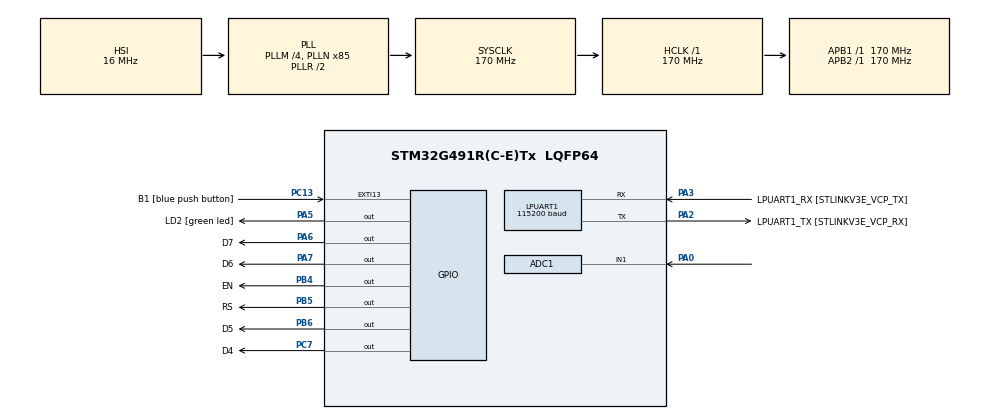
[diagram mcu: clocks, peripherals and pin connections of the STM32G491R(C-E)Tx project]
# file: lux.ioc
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ADC1.Channel-0\#ChannelRegularConversion=ADC_CHANNEL_1
ADC1.NbrOfConversionFlag=1
ADC1.OffsetNumber-0\#ChannelRegularConversion=ADC_OFFSET_NONE
ADC1.Rank-0\#ChannelRegularConversion=1
ADC1.SamplingTime-0\#ChannelRegularConversion=ADC_SAMPLETIME_2CYCLES_5
ADC1.master=1
LPUART1.BaudRate=115200
LPUART1.WordLength=UART_WORDLENGTH_8B
Mcu.Family=STM32G4
Mcu.Name=STM32G491R(C-E)Tx
Mcu.Package=LQFP64
NVIC.EXTI15_10_IRQn=true\:0\:0\:false\:false\:true\:true\:true\:true
NVIC.PriorityGroup=NVIC_PRIORITYGROUP_4
PA0.Mode=IN1-Single-Ended
PA0.Signal=ADC1_IN1
PA13.GPIO_Label=T_SWDIO
PA13.Mode=Serial_Wire
PA13.Signal=SYS_JTMS-SWDIO
PA14.GPIO_Label=T_SWCLK
PA14.Mode=Serial_Wire
PA14.Signal=SYS_JTCK-SWCLK
PA2.GPIO_Label=LPUART1_TX [STLINKV3E_VCP_RX]
PA2.Mode=Asynchronous
PA2.Signal=LPUART1_TX
PA3.GPIO_Label=LPUART1_RX [STLINKV3E_VCP_TX]
PA3.Mode=Asynchronous
PA3.Signal=LPUART1_RX
PA5.GPIO_Label=LD2 [green led]
PA5.Signal=GPIO_Output
PA6.GPIO_Label=D7
PA6.Signal=GPIO_Output
PA7.GPIO_Label=D6
PA7.Signal=GPIO_Output
PB3.GPIO_Label=T_SWO
PB3.Signal=SYS_JTDO-SWO
PB4.GPIO_Label=EN
PB4.Signal=GPIO_Output
PB5.GPIO_Label=RS
PB5.Signal=GPIO_Output
PB6.GPIO_Label=D5
PB6.Signal=GPIO_Output
PC13.GPIO_Label=B1 [blue push button]
PC13.Signal=GPXTI13
PC14-OSC32_IN.Mode=LSE-External-Oscillator
PC14-OSC32_IN.Signal=RCC_OSC32_IN
PC15-OSC32_OUT.Mode=LSE-External-Oscillator
PC15-OSC32_OUT.Signal=RCC_OSC32_OUT
PC7.GPIO_Label=D4
PC7.Signal=GPIO_Output
PF0-OSC_IN.Mode=HSE-External-Oscillator
PF0-OSC_IN.Signal=RCC_OSC_IN
PF1-OSC_OUT.Mode=HSE-External-Oscillator
PF1-OSC_OUT.Signal=RCC_OSC_OUT
ProjectManager.HeapSize=0x200
ProjectManager.StackSize=0x400
ProjectManager.TargetToolchain=STM32CubeIDE
RCC.ADC12Freq_Value=170000000
RCC.ADC345Freq_Value=170000000
RCC.AHBFreq_Value=170000000
RCC.APB1Freq_Value=170000000
RCC.APB1TimFreq_Value=170000000
RCC.APB2Freq_Value=170000000
RCC.APB2TimFreq_Value=170000000
RCC.CortexFreq_Value=170000000
RCC.EXTERNAL_CLOCK_VALUE=12288000
RCC.HCLKFreq_Value=170000000
RCC.HSE_VALUE=24000000
RCC.HSI48_VALUE=48000000
RCC.HSI_VALUE=16000000
RCC.PLLM=RCC_PLLM_DIV4
RCC.PLLN=85
RCC.RTCClockSelection=RCC_RTCCLKSOURCE_LSE
RCC.SYSCLKFreq_VALUE=170000000
RCC.SYSCLKSource=RCC_SYSCLKSOURCE_PLLCLK
RCC.USBFreq_Value=48000000
RCC.VCOOutputFreq_Value=340000000
VP_SYS_VS_DBSignals.Mode=DisableDeadBatterySignals
board=NUCLEO-G491RE

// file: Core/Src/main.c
/* USER CODE BEGIN Header */
/**
  ******************************************************************************
  * @file           : main.c
  * @brief          : Main program body
  ******************************************************************************
  * @attention
  *
  * Copyright (c) 2023 STMicroelectronics.
  * All rights reserved.
  *
  * This software is licensed under terms that can be found in the LICENSE file
  * in the root directory of this software component.
  * If no LICENSE file comes with this software, it is provided AS-IS.
  *
  ******************************************************************************
  */
/* USER CODE END Header */
#include "main.h"

/* USER CODE BEGIN Includes */
#include "lcd.h"
#include <math.h>
/* USER CODE END Includes */

/* USER CODE BEGIN PD */
#define LUX_SCALAR		48.842
#define LUX_EXPONENT	-1.974
/* USER CODE END PD */

ADC_HandleTypeDef hadc1;

UART_HandleTypeDef hlpuart1;

void SystemClock_Config(void);
static void MX_GPIO_Init(void);
static void MX_LPUART1_UART_Init(void);
static void MX_ADC1_Init(void);

int main(void)
{
  /* USER CODE BEGIN 1 */
  char txt[30];
  uint16_t adc_raw;
  uint32_t lux;
  float voltage;
  /* USER CODE END 1 */

  /* MCU Configuration--------------------------------------------------------*/

  /* Reset of all peripherals, Initializes the Flash interface and the Systick. */
  HAL_Init();

  /* Configure the system clock */
  SystemClock_Config();

  /* Initialize all configured peripherals */
  MX_GPIO_Init();
  MX_LPUART1_UART_Init();
  MX_ADC1_Init();
  /* USER CODE BEGIN 2 */
  Lcd_PortType ports[] = {D4_GPIO_Port, D5_GPIO_Port, D6_GPIO_Port, D7_GPIO_Port};
  Lcd_PinType pins[] = {D4_Pin, D5_Pin, D6_Pin, D7_Pin};

  Lcd_HandleTypeDef lcd = Lcd_create(ports, pins, RS_GPIO_Port, RS_Pin, EN_GPIO_Port, EN_Pin, LCD_4_BIT_MODE);
  /* USER CODE END 2 */

  /* Infinite loop */
  while (1)
  {

    /* USER CODE BEGIN 3 */
	HAL_ADC_Start(&hadc1);
	HAL_ADC_PollForConversion(&hadc1, 100);
	adc_raw = HAL_ADC_GetValue(&hadc1);
	HAL_ADC_Stop(&hadc1);

	voltage = ((double) adc_raw / 4096) * 3.3;

	lux = LUX_SCALAR * pow(voltage, LUX_EXPONENT);

	sprintf(txt, "%ld lux", lux);
	Lcd_clear(&lcd);
	Lcd_cursor(&lcd, 0, 0);
	Lcd_string(&lcd, txt);

	HAL_GPIO_TogglePin(LD2_GPIO_Port, LD2_Pin);
	HAL_Delay(500);
  }
  /* USER CODE END 3 */
}

void SystemClock_Config(void)
{
  RCC_OscInitTypeDef RCC_OscInitStruct = {0};
  RCC_ClkInitTypeDef RCC_ClkInitStruct = {0};

  /** Configure the main internal regulator output voltage
  */
  HAL_PWREx_ControlVoltageScaling(PWR_REGULATOR_VOLTAGE_SCALE1_BOOST);

  /** Initializes the RCC Oscillators according to the specified parameters
  * in the RCC_OscInitTypeDef structure.
  */
  RCC_OscInitStruct.OscillatorType = RCC_OSCILLATORTYPE_HSI;
  RCC_OscInitStruct.HSIState = RCC_HSI_ON;
  RCC_OscInitStruct.HSICalibrationValue = RCC_HSICALIBRATION_DEFAULT;
  RCC_OscInitStruct.PLL.PLLState = RCC_PLL_ON;
  RCC_OscInitStruct.PLL.PLLSource = RCC_PLLSOURCE_HSI;
  RCC_OscInitStruct.PLL.PLLM = RCC_PLLM_DIV4;
  RCC_OscInitStruct.PLL.PLLN = 85;
  RCC_OscInitStruct.PLL.PLLP = RCC_PLLP_DIV2;
  RCC_OscInitStruct.PLL.PLLQ = RCC_PLLQ_DIV2;
  RCC_OscInitStruct.PLL.PLLR = RCC_PLLR_DIV2;
  if (HAL_RCC_OscConfig(&RCC_OscInitStruct) != HAL_OK)
  {
    Error_Handler();
  }

  /** Initializes the CPU, AHB and APB buses clocks
  */
  RCC_ClkInitStruct.ClockType = RCC_CLOCKTYPE_HCLK|RCC_CLOCKTYPE_SYSCLK
                              |RCC_CLOCKTYPE_PCLK1|RCC_CLOCKTYPE_PCLK2;
  RCC_ClkInitStruct.SYSCLKSource = RCC_SYSCLKSOURCE_PLLCLK;
  RCC_ClkInitStruct.AHBCLKDivider = RCC_SYSCLK_DIV1;
  RCC_ClkInitStruct.APB1CLKDivider = RCC_HCLK_DIV1;
  RCC_ClkInitStruct.APB2CLKDivider = RCC_HCLK_DIV1;

  if (HAL_RCC_ClockConfig(&RCC_ClkInitStruct, FLASH_LATENCY_4) != HAL_OK)
  {
    Error_Handler();
  }
}

static void MX_ADC1_Init(void)
{

  ADC_MultiModeTypeDef multimode = {0};
  ADC_ChannelConfTypeDef sConfig = {0};

  /** Common config
  */
  hadc1.Instance = ADC1;
  hadc1.Init.ClockPrescaler = ADC_CLOCK_SYNC_PCLK_DIV4;
  hadc1.Init.Resolution = ADC_RESOLUTION_12B;
  hadc1.Init.DataAlign = ADC_DATAALIGN_RIGHT;
  hadc1.Init.GainCompensation = 0;
  hadc1.Init.ScanConvMode = ADC_SCAN_DISABLE;
  hadc1.Init.EOCSelection = ADC_EOC_SINGLE_CONV;
  hadc1.Init.LowPowerAutoWait = DISABLE;
  hadc1.Init.ContinuousConvMode = DISABLE;
  hadc1.Init.NbrOfConversion = 1;
  hadc1.Init.DiscontinuousConvMode = DISABLE;
  hadc1.Init.ExternalTrigConv = ADC_SOFTWARE_START;
  hadc1.Init.ExternalTrigConvEdge = ADC_EXTERNALTRIGCONVEDGE_NONE;
  hadc1.Init.DMAContinuousRequests = DISABLE;
  hadc1.Init.Overrun = ADC_OVR_DATA_PRESERVED;
  hadc1.Init.OversamplingMode = DISABLE;
  if (HAL_ADC_Init(&hadc1) != HAL_OK)
  {
    Error_Handler();
  }

  /** Configure the ADC multi-mode
  */
  multimode.Mode = ADC_MODE_INDEPENDENT;
  if (HAL_ADCEx_MultiModeConfigChannel(&hadc1, &multimode) != HAL_OK)
  {
    Error_Handler();
  }

  /** Configure Regular Channel
  */
  sConfig.Channel = ADC_CHANNEL_1;
  sConfig.Rank = ADC_REGULAR_RANK_1;
  sConfig.SamplingTime = ADC_SAMPLETIME_2CYCLES_5;
  sConfig.SingleDiff = ADC_SINGLE_ENDED;
  sConfig.OffsetNumber = ADC_OFFSET_NONE;
  sConfig.Offset = 0;
  if (HAL_ADC_ConfigChannel(&hadc1, &sConfig) != HAL_OK)
  {
    Error_Handler();
  }

}

static void MX_LPUART1_UART_Init(void)
{

  hlpuart1.Instance = LPUART1;
  hlpuart1.Init.BaudRate = 115200;
  hlpuart1.Init.WordLength = UART_WORDLENGTH_8B;
  hlpuart1.Init.StopBits = UART_STOPBITS_1;
  hlpuart1.Init.Parity = UART_PARITY_NONE;
  hlpuart1.Init.Mode = UART_MODE_TX_RX;
  hlpuart1.Init.HwFlowCtl = UART_HWCONTROL_NONE;
  hlpuart1.Init.OneBitSampling = UART_ONE_BIT_SAMPLE_DISABLE;
  hlpuart1.Init.ClockPrescaler = UART_PRESCALER_DIV1;
  hlpuart1.AdvancedInit.AdvFeatureInit = UART_ADVFEATURE_NO_INIT;
  if (HAL_UART_Init(&hlpuart1) != HAL_OK)
  {
    Error_Handler();
  }
  if (HAL_UARTEx_SetTxFifoThreshold(&hlpuart1, UART_TXFIFO_THRESHOLD_1_8) != HAL_OK)
  {
    Error_Handler();
  }
  if (HAL_UARTEx_SetRxFifoThreshold(&hlpuart1, UART_RXFIFO_THRESHOLD_1_8) != HAL_OK)
  {
    Error_Handler();
  }
  if (HAL_UARTEx_DisableFifoMode(&hlpuart1) != HAL_OK)
  {
    Error_Handler();
  }

}

static void MX_GPIO_Init(void)
{
  GPIO_InitTypeDef GPIO_InitStruct = {0};

  /* GPIO Ports Clock Enable */
  __HAL_RCC_GPIOC_CLK_ENABLE();
  __HAL_RCC_GPIOF_CLK_ENABLE();
  __HAL_RCC_GPIOA_CLK_ENABLE();
  __HAL_RCC_GPIOB_CLK_ENABLE();

  /*Configure GPIO pin Output Level */
  HAL_GPIO_WritePin(GPIOA, LD2_Pin|D7_Pin|D6_Pin, GPIO_PIN_RESET);

  /*Configure GPIO pin Output Level */
  HAL_GPIO_WritePin(D4_GPIO_Port, D4_Pin, GPIO_PIN_RESET);

  /*Configure GPIO pin Output Level */
  HAL_GPIO_WritePin(GPIOB, EN_Pin|RS_Pin|D5_Pin, GPIO_PIN_RESET);

  /*Configure GPIO pin : B1_Pin */
  GPIO_InitStruct.Pin = B1_Pin;
  GPIO_InitStruct.Mode = GPIO_MODE_IT_RISING;
  GPIO_InitStruct.Pull = GPIO_NOPULL;
  HAL_GPIO_Init(B1_GPIO_Port, &GPIO_InitStruct);

  /*Configure GPIO pins : LD2_Pin D7_Pin D6_Pin */
  GPIO_InitStruct.Pin = LD2_Pin|D7_Pin|D6_Pin;
  GPIO_InitStruct.Mode = GPIO_MODE_OUTPUT_PP;
  GPIO_InitStruct.Pull = GPIO_NOPULL;
  GPIO_InitStruct.Speed = GPIO_SPEED_FREQ_LOW;
  HAL_GPIO_Init(GPIOA, &GPIO_InitStruct);

  /*Configure GPIO pin : D4_Pin */
  GPIO_InitStruct.Pin = D4_Pin;
  GPIO_InitStruct.Mode = GPIO_MODE_OUTPUT_PP;
  GPIO_InitStruct.Pull = GPIO_NOPULL;
  GPIO_InitStruct.Speed = GPIO_SPEED_FREQ_LOW;
  HAL_GPIO_Init(D4_GPIO_Port, &GPIO_InitStruct);

  /*Configure GPIO pins : EN_Pin RS_Pin D5_Pin */
  GPIO_InitStruct.Pin = EN_Pin|RS_Pin|D5_Pin;
  GPIO_InitStruct.Mode = GPIO_MODE_OUTPUT_PP;
  GPIO_InitStruct.Pull = GPIO_NOPULL;
  GPIO_InitStruct.Speed = GPIO_SPEED_FREQ_LOW;
  HAL_GPIO_Init(GPIOB, &GPIO_InitStruct);

  /* EXTI interrupt init*/
  HAL_NVIC_SetPriority(EXTI15_10_IRQn, 0, 0);
  HAL_NVIC_EnableIRQ(EXTI15_10_IRQn);

}

void Error_Handler(void)
{
  __disable_irq();
  while (1)
  {
  }
}
